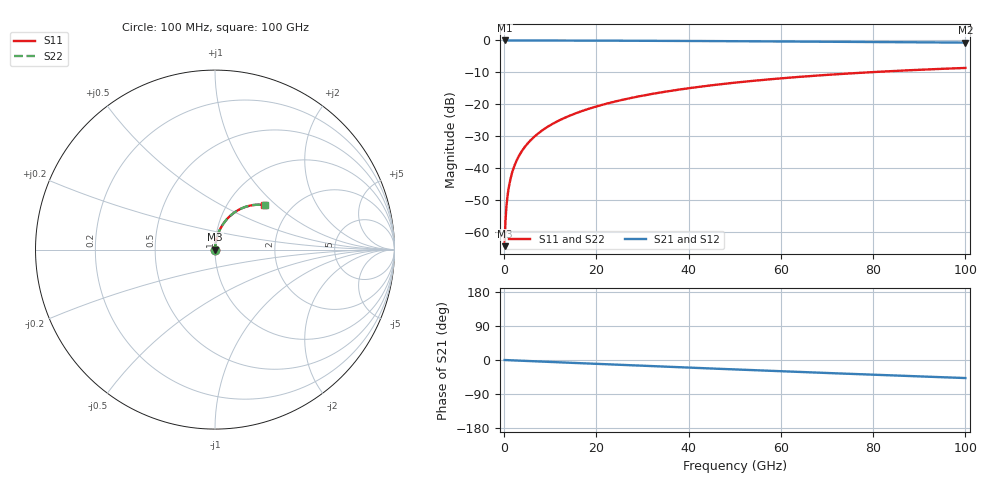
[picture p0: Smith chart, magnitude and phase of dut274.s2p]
! Touchstone file exported from HFSS 2026.1.0
!  File:  C:/ffzhzh/LocalFiles/Ansys_Project_Files/temp_train_TSV_274_1783508713_31944.aedt
!  Generated:  07:06:36 PM Jul  8, 2026
!  Design:  TSV
!  Project:  temp_train_TSV_274_1783508713_31944
! Variables:
!  h_bsmrdl = 2um
!  h_ox = 20um
!  h_rdl = 5um
!  h_sub = 81.84um
!  h_tmrdl = 5um
!  h_tsv = 81.84um
!  h_via = 3um
!  l_bsmrdl = 300um
!  l_sub = 411.64um
!  l_tmrdl = 200um
!  m_sub = 200um
!  pitch = 55.58um
!  r_tsv = 5.82um
!  s_tmrdl = 10um
!  w_bsmrdl = 18um
!  w_sub = 500um
!  w_tmrdl = 12um
!  x_tsv_center1 = 206um
!  x_tsv_center2 = 524um
!  x_tsv_center3 = 736um
!  x_tsv_center4 = 1054um
!  x_tsv_center5 = 1266um
!  x_tsv_center6 = 1584um
# GHz S MA R 50.000000
! Terminal data exported
! Port[1] = TSV1_1_T1
! Port[2] = TSV1_1_T2
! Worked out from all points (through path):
!   1000 points, 100 MHz to 100 GHz, reference 50 ohm
!   highest |S21| = 0.00 dB at 100 MHz (marker M1); lowest = -0.7 dB at 100 GHz (marker M2)
!   group delay of S21, straight-line fit = 1.33 ps
!   lowest |S11| = -64.5 dB at 100 MHz (marker M3), VSWR 1.00, Z = 50 + j0.0507 ohm
!   |S11| at or under -10 dB: start of sweep to 79.03 GHz
!   |S22| runs from -64.5 to -8.6 dB; largest |S21 - S12| = 5.6e-15
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0.1  0.000593 58.7  0.9997 -0.1  0.9997 -0.1  0.000593 58.7
! Gamma 0 0 0 0
! Port Impedance 50 0 50 0
0.4  0.002015 80.0  0.9997 -0.2  0.9997 -0.2  0.002015 80.0
0.7  0.00347 83.5  0.9996 -0.4  0.9996 -0.4  0.00347 83.5
0.8  0.003955 84.0  0.9996 -0.4  0.9996 -0.4  0.003955 84.0
1  0.004926 84.7  0.9996 -0.5  0.9996 -0.5  0.004926 84.7
1.3  0.006378 85.3  0.9995 -0.7  0.9995 -0.7  0.006378 85.3
1.7  0.008301 85.6  0.9995 -0.9  0.9995 -0.9  0.008301 85.6
2.3  0.01116 85.7  0.9993 -1.2  0.9993 -1.2  0.01116 85.7
3  0.01446 85.6  0.9992 -1.6  0.9992 -1.6  0.01446 85.6
3.8  0.0182 85.4  0.999 -2.0  0.999 -2.0  0.0182 85.4
4.8  0.02285 85.2  0.9988 -2.5  0.9988 -2.5  0.02285 85.2
6  0.02841 84.8  0.9986 -3.1  0.9986 -3.1  0.02841 84.8
8.8  0.04133 83.7  0.9979 -4.5  0.9979 -4.5  0.04133 83.7
12.4  0.05783 82.2  0.9968 -6.3  0.9968 -6.3  0.05783 82.2
16.8  0.07779 80.2  0.9952 -8.5  0.9952 -8.5  0.07779 80.1
24.2  0.1108 76.7  0.9918 -12.3  0.9918 -12.3  0.1108 76.7
33.4  0.1505 72.3  0.9862 -16.8  0.9862 -16.8  0.1505 72.3
41.2  0.1829 68.5  0.9805 -20.6  0.9805 -20.6  0.1829 68.5
50.1  0.2179 64.3  0.9731 -24.9  0.9731 -24.9  0.2179 64.3
66.7  0.2775 56.6  0.9575 -32.8  0.9575 -32.8  0.2775 56.6
83.4  0.3288 49.1  0.9409 -40.3  0.9409 -40.3  0.3288 49.1
100  0.3704 41.9  0.9251 -47.6  0.9251 -47.6  0.3704 41.9
